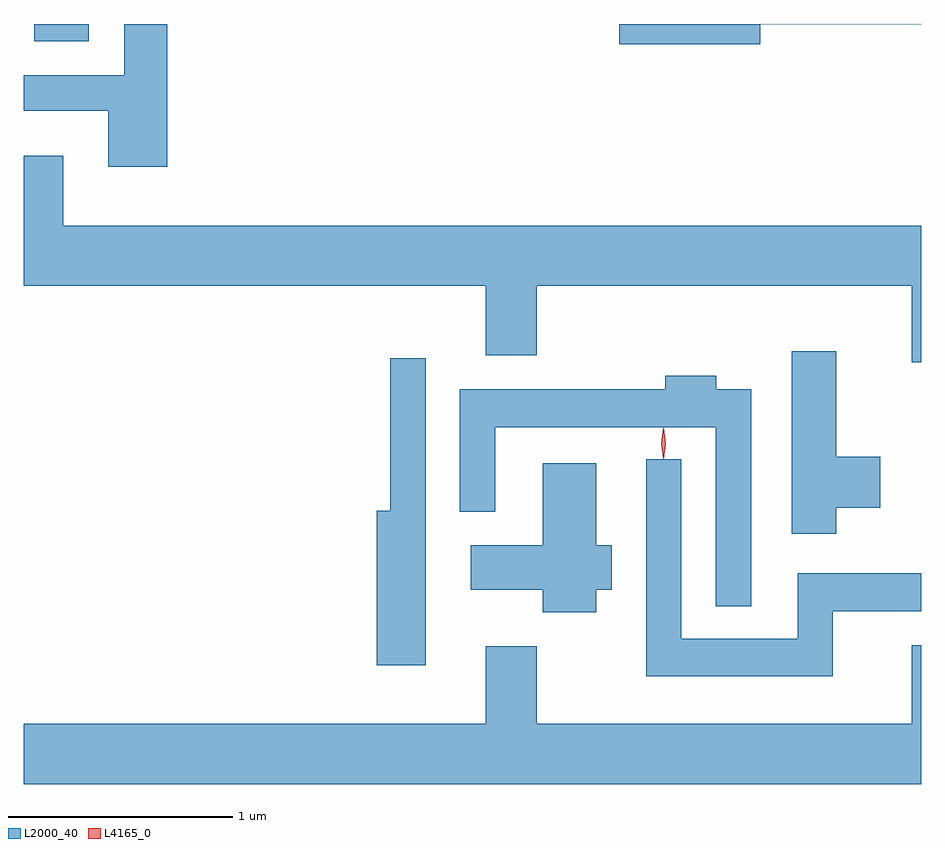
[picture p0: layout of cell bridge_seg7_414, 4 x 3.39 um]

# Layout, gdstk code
import gdstk
lib = gdstk.Library(unit=1e-6, precision=1e-09)
def R(c, l, rs):  # rectangles x0, y0, x1, y1
    for r in rs: c.add(gdstk.rectangle(r[:2], r[2:], *l))
def P(c, l, *ps):  # polygons
    for p in ps: c.add(gdstk.Polygon(p, *l))
L2000_40 = (2000, 40)
L4165_0 = (4165, 0)

bridge_seg7_414 = lib.new_cell('bridge_seg7_414')
R(bridge_seg7_414, L2000_40, [(1066.991,1735.386,1067.234,1735.462)])
P(bridge_seg7_414, L2000_40, [(1067.584,1735.462),(1067.391,1735.462),(1067.391,1735.234),(1066.943,1735.234),(1066.943,1735.076),(1067.321,1735.076),(1067.321,1734.826),(1067.584,1734.826)],
  [(1070.224,1735.461),(1070.943,1735.461),(1070.943,1735.462),(1069.596,1735.462),(1069.596,1735.371),(1070.224,1735.371)],
  [(1070.943,1734.564),(1067.119,1734.564),(1067.119,1734.874),(1066.943,1734.874),(1066.943,1734.296),(1069.001,1734.296),(1069.001,1733.986),(1069.229,1733.986),(1069.229,1734.296),(1070.901,1734.296),(1070.901,1733.956),(1070.943,1733.956)],
  [(1070.564,1733.306),(1070.759,1733.306),(1070.759,1733.534),(1070.564,1733.534),(1070.564,1734.004),(1070.366,1734.004),(1070.366,1733.191),(1070.564,1733.191)],
  [(1068.734,1733.973),(1068.576,1733.973),(1068.576,1733.294),(1068.516,1733.294),(1068.516,1732.606),(1068.734,1732.606)],
  [(1070.184,1733.834),(1070.029,1733.834),(1070.029,1733.894),(1069.801,1733.894),(1069.801,1733.834),(1068.886,1733.834),(1068.886,1733.288),(1069.044,1733.288),(1069.044,1733.666),(1070.026,1733.666),(1070.026,1732.868),(1070.184,1732.868)],
  [(1070.549,1732.846),(1070.943,1732.846),(1070.943,1733.014),(1070.391,1733.014),(1070.391,1732.724),(1069.874,1732.724),(1069.874,1733.523),(1069.716,1733.523),(1069.716,1732.556),(1070.549,1732.556)],
  [(1069.494,1732.941),(1069.564,1732.941),(1069.564,1733.139),(1069.494,1733.139),(1069.494,1733.504),(1069.256,1733.504),(1069.256,1733.139),(1068.936,1733.139),(1068.936,1732.941),(1069.256,1732.941),(1069.256,1732.841),(1069.494,1732.841)],
  [(1070.943,1732.694),(1070.901,1732.694),(1070.901,1732.344),(1069.229,1732.344),(1069.229,1732.689),(1069.001,1732.689),(1069.001,1732.344),(1066.943,1732.344),(1066.943,1732.076),(1070.943,1732.076)])
P(bridge_seg7_414, L4165_0, [(1069.794,1733.527),(1069.793,1733.528),(1069.784,1733.594),(1069.793,1733.66),(1069.794,1733.66),(1069.794,1733.66),(1069.804,1733.594),(1069.794,1733.528)],
  [(1069.794,1733.524),(1069.785,1733.593),(1069.794,1733.662),(1069.795,1733.663),(1069.795,1733.662),(1069.805,1733.593),(1069.795,1733.524),(1069.795,1733.524)])

lib.write_gds('bridge_seg7_414.gds')
